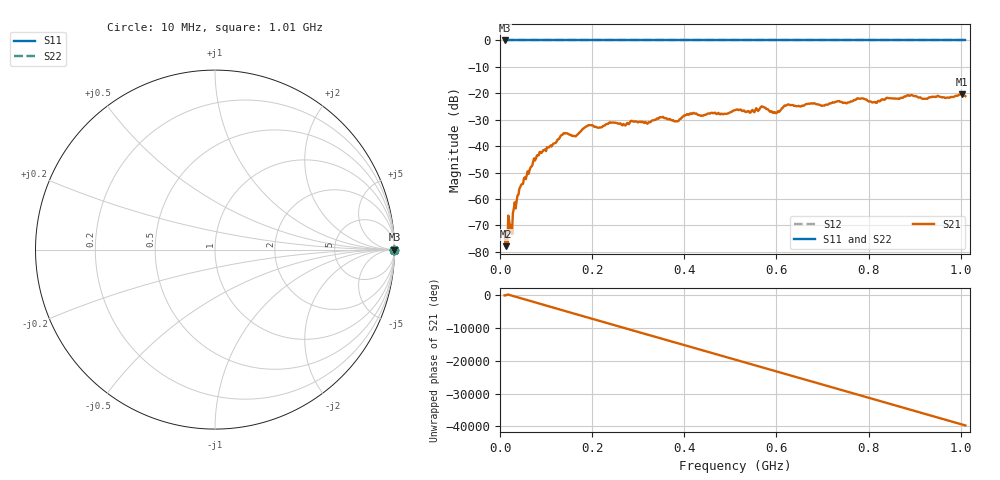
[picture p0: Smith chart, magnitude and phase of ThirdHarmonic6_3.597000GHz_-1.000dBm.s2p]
! 8/17/2025 11:59:06 AM
! C:\ANRITSUVNA\TEMP\TEMP.S2P
! CHANNEL.1
! TR.MEASUREMENT
! RAW.DATA
! RF.CORRECTION.OFF
! AVERAGING.OFF
! IF.BANDWIDTH: 5KHZ
! SWEEPTYPE:  FREQ.SWEEP(Linear)
! Reference Plane Port Info
! PORT:  PORT1  PORT2
! DISTANCE:  0  m  0  m
! TIME:  0  s  0  s
! PHASE.OFFSET:  0  deg.  0  deg.
! LOSS:  0  dB  0  dB
! REF.LOSS:  0  dB  0  dB
! REF.FREQ:  0  Hz  0  Hz
! Power Info
! POWER:  -20  dBm  -20  dBm
! EFF.POWER:  -20  dBm  -20  dBm
! SOURCE.ATTEN:  0  dB  0  dB
! TEST.ATTEN:  0  dB  0  dB
# GHZ S RI R 50.0
! FREQ.GHZ  S11RE  S11IM  S21RE  S21IM  S12RE  S12IM  S22RE  S22IM
!; PortSelection: Port_12
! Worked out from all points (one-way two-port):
!   501 points, 10 MHz to 1.01 GHz, reference 50 ohm
!   highest |S21| = -20.33 dB at 1.002 GHz (marker M1); lowest = -77.8 dB at 12 MHz (marker M2)
!   lowest |S11| = 0.0 dB at 10 MHz (marker M3)
!   |S11| at or under -10 dB: nowhere
!   |S22| runs from 0.0 to 0.0 dB; largest |S21 - S12| = 1.1
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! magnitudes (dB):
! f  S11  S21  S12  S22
! 10 MHz  0.0  -72.3  0.0  0.0
! 12 MHz  0.0  -77.8  0.0  0.0
! 26 MHz  0.0  -73.3  0.0  0.0
! 32 MHz  0.0  -61.2  0.0  0.0
! 42 MHz  0.0  -56.1  0.0  0.0
! 76 MHz  0.0  -45.4  0.0  0.0
! 136 MHz  0.0  -35.6  0.0  0.0
! 162 MHz  0.0  -36.2  0.0  0.0
! 178 MHz  0.0  -33.7  0.0  0.0
! 194 MHz  0.0  -32.0  0.0  0.0
! 322 MHz  0.0  -31.0  0.0  0.0
! 344 MHz  0.0  -29.6  0.0  0.0
! 382 MHz  0.0  -30.5  0.0  0.0
! 416 MHz  0.0  -27.8  0.0  0.0
! 510 MHz  0.0  -26.4  0.0  0.0
! 570 MHz  0.0  -25.0  0.0  0.0
! 596 MHz  0.0  -27.1  0.0  0.0
! 622 MHz  0.0  -24.5  0.0  0.0
! 678 MHz  0.0  -23.9  0.0  0.0
! 844 MHz  0.0  -21.9  0.0  0.0
! 1.002 GHz  0.0  -20.3  0.0  0.0
! 1.01 GHz  0.0  -21.1  0.0  0.0
